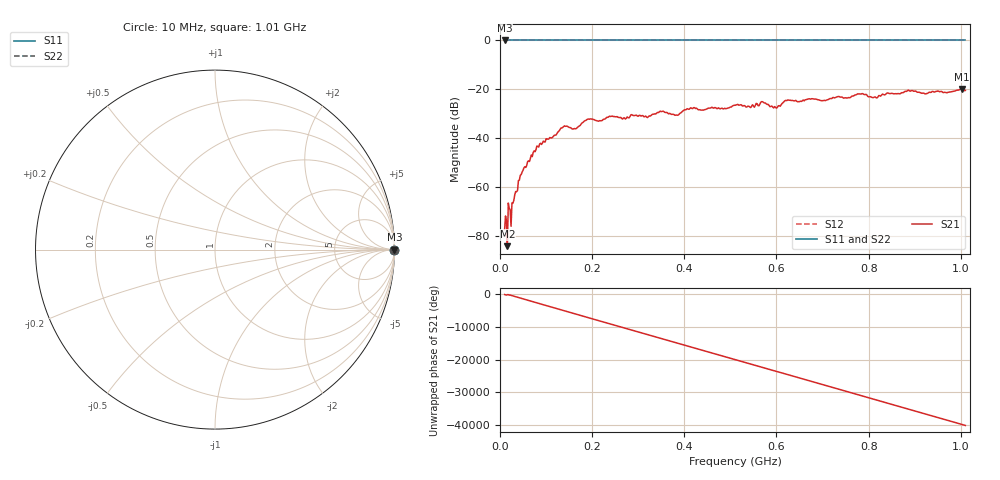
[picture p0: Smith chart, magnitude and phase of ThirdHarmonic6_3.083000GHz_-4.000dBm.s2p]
! 8/17/2025 9:02:39 AM
! C:\ANRITSUVNA\TEMP\TEMP.S2P
! CHANNEL.1
! TR.MEASUREMENT
! RAW.DATA
! RF.CORRECTION.OFF
! AVERAGING.OFF
! IF.BANDWIDTH: 5KHZ
! SWEEPTYPE:  FREQ.SWEEP(Linear)
! Reference Plane Port Info
! PORT:  PORT1  PORT2
! DISTANCE:  0  m  0  m
! TIME:  0  s  0  s
! PHASE.OFFSET:  0  deg.  0  deg.
! LOSS:  0  dB  0  dB
! REF.LOSS:  0  dB  0  dB
! REF.FREQ:  0  Hz  0  Hz
! Power Info
! POWER:  -20  dBm  -20  dBm
! EFF.POWER:  -20  dBm  -20  dBm
! SOURCE.ATTEN:  0  dB  0  dB
! TEST.ATTEN:  0  dB  0  dB
# GHZ S RI R 50.0
! FREQ.GHZ  S11RE  S11IM  S21RE  S21IM  S12RE  S12IM  S22RE  S22IM
!; PortSelection: Port_12
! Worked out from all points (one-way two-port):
!   501 points, 10 MHz to 1.01 GHz, reference 50 ohm
!   highest |S21| = -19.80 dB at 1.002 GHz (marker M1); lowest = -84.2 dB at 16 MHz (marker M2)
!   lowest |S11| = 0.0 dB at 10 MHz (marker M3)
!   |S11| at or under -10 dB: nowhere
!   |S22| runs from 0.0 to 0.0 dB; largest |S21 - S12| = 1.1
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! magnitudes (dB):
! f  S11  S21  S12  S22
! 10 MHz  0.0  -77.3  0.0  0.0
! 12 MHz  0.0  -71.8  0.0  0.0
! 16 MHz  0.0  -84.2  0.0  0.0
! 26 MHz  0.0  -66.5  0.0  0.0
! 30 MHz  0.0  -65.4  0.0  0.0
! 48 MHz  0.0  -53.9  0.0  0.0
! 84 MHz  0.0  -43.6  0.0  0.0
! 136 MHz  0.0  -35.6  0.0  0.0
! 162 MHz  0.0  -36.0  0.0  0.0
! 178 MHz  0.0  -33.8  0.0  0.0
! 194 MHz  0.0  -32.2  0.0  0.0
! 344 MHz  0.0  -29.5  0.0  0.0
! 384 MHz  0.0  -30.5  0.0  0.0
! 418 MHz  0.0  -27.9  0.0  0.0
! 510 MHz  0.0  -26.5  0.0  0.0
! 570 MHz  0.0  -25.1  0.0  0.0
! 598 MHz  0.0  -27.4  0.0  0.0
! 622 MHz  0.0  -24.6  0.0  0.0
! 678 MHz  0.0  -23.8  0.0  0.0
! 844 MHz  0.0  -21.7  0.0  0.0
! 1.002 GHz  0.0  -19.8  0.0  0.0
! 1.01 GHz  0.0  -20.4  0.0  0.0
